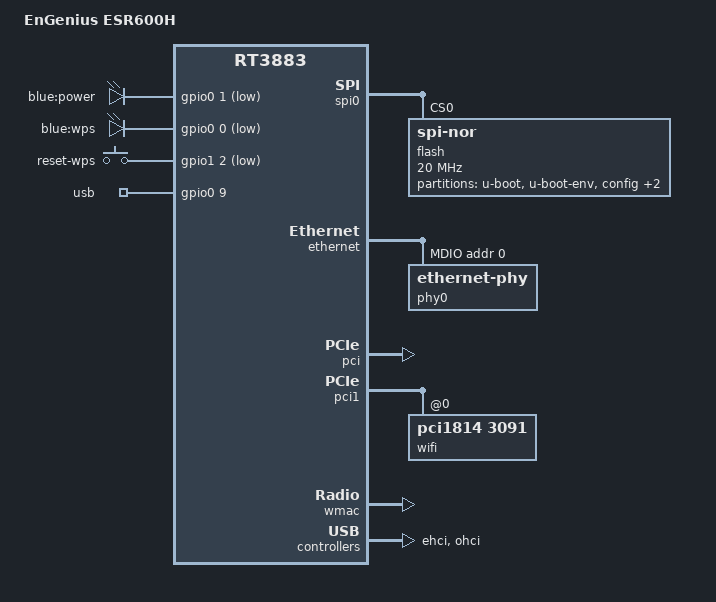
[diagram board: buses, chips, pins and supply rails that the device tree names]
// SPDX-License-Identifier: GPL-2.0-or-later OR MIT

#include "rt3883.dtsi"

#include <dt-bindings/gpio/gpio.h>
#include <dt-bindings/input/input.h>

/ {
	compatible = "engenius,esr600h", "ralink,rt3662-soc", "ralink,rt3883-soc";
	model = "EnGenius ESR600H";

	aliases {
		led-boot = &led_power;
		led-failsafe = &led_power;
		led-running = &led_power;
		led-upgrade = &led_power;
	};

	leds {
		compatible = "gpio-leds";

		led_power: power {
			label = "blue:power";
			gpios = <&gpio0 1 GPIO_ACTIVE_LOW>;
			default-state = "on";
		};

		wps {
			label = "blue:wps";
			gpios = <&gpio0 0 GPIO_ACTIVE_LOW>;
		};
	};

	keys {
		compatible = "gpio-keys-polled";
		poll-interval = <100>;

		reset-wps {
			label = "reset-wps";
			gpios = <&gpio1 2 GPIO_ACTIVE_LOW>;
			linux,code = <KEY_RESTART>;
		};
	};

	gpio_export {
		compatible = "gpio-export";
		#size-cells = <0>;

		usb {
			gpio-export,name = "usb";
			gpio-export,output = <1>;
			gpios = <&gpio0 9 GPIO_ACTIVE_HIGH>;
		};
	};
};

&gpio1 {
	status = "okay";
};

&spi0 {
	status = "okay";

	flash@0 {
		compatible = "jedec,spi-nor";
		reg = <0>;
		spi-max-frequency = <20000000>;

		partitions {
			compatible = "fixed-partitions";
			#address-cells = <1>;
			#size-cells = <1>;

			partition@0 {
				label = "u-boot";
				reg = <0x0 0x30000>;
				read-only;
			};

			partition@30000 {
				label = "u-boot-env";
				reg = <0x30000 0x1000>;
			};

			partition@32000 {
				label = "config";
				reg = <0x32000 0xe000>;
				read-only;
			};

			factory: partition@40000 {
				label = "factory";
				reg = <0x40000 0x10000>;
				read-only;
			};

			partition@50000 {
				compatible = "denx,uimage";
				label = "firmware";
				reg = <0x50000 0x7b0000>;
			};
		};
	};
};

&state_default {
	gpio {
		groups = "i2c", "jtag", "uartf";
		function = "gpio";
	};
};

&ethernet {
	status = "okay";

	port@0 {
		phy-handle = <&phy0>;
		phy-mode = "rgmii";
	};

	mdio-bus {
		status = "okay";

		phy0: ethernet-phy@0 {
			reg = <0>;
			phy-mode = "rgmii";

			qca,ar8327-initvals = <
				0x04 0x07600000 /* PORT0 PAD MODE CTRL */
				0x0c 0x07600000 /* PORT6 PAD MODE CTRL */
				0x10 0x40000000 /* Power-on Strapping: 176-pin interface configuration */
				0x50 0xc437c437 /* LED Control Register 0 */
				0x54 0xc337c337 /* LED Control Register 1 */
				0x58 0x00000000 /* LED Control Register 2 */
				0x5c 0x03ffff00 /* LED Control Register 3 */
				0x7c 0x0000007e /* PORT0_STATUS */
				0x94 0x0000007e /* PORT6 STATUS */
			>;
		};
	};
};

&pci {
	status = "okay";
};

&pci1 {
	status = "okay";

	wifi@0,1,0 {
		compatible = "pci1814,3091";
		reg = <0x0 1 0 0 0>;
		ralink,5ghz = <0>;
		ralink,mtd-eeprom = <&factory 0x8000>;
	};
};

&wmac {
	status = "okay";

	ralink,2ghz = <0>;
	ralink,mtd-eeprom = <&factory 0x0>;
};

&ehci {
	status = "okay";
};

&ohci {
	status = "okay";
};
